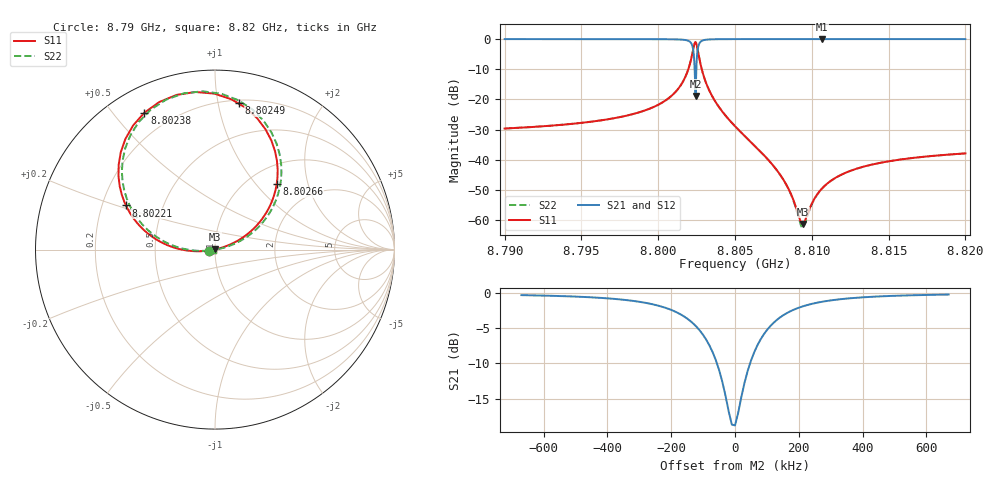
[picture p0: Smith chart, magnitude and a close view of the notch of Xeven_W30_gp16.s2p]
! Sonnet Data File
! From: emgraph Version : 16.52
! From Project: Qubit_Test_beforeopt
! Data is De-embedded
! Data File Written: 10/18/2017 16:57:22
!< HDATE 10/18/2017 09:03:38
!< MDATE 10/18/2017 09:03:38
!< PARAMS
!< Lj = 11.0
!< Gap = 16.0
!< Pwid = 2000.0
!< Airgap = 18.0
!< Width = 30.0
!< END PARAMS
# GHZ S MA R 51.80000
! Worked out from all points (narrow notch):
!   3001 points, 8.79 GHz to 8.82 GHz, reference 51.8 ohm
!   highest |S21| = 0.00 dB at 8.81065 GHz (marker M1); lowest = -18.8 dB at 8.80243 GHz (marker M2)
!   notch at M2: 18.8 dB deep, 113 kHz wide at half that depth
!   lowest |S11| = -61.2 dB at 8.8094 GHz (marker M3), VSWR 1.00, Z = 51.8 + j0.0882 ohm
!   |S11| at or under -10 dB: start of sweep to 8.80196 GHz; 8.802835 GHz to end of sweep
!   |S22| runs from -62.5 to -1.0 dB; largest |S21 - S12| = 0
!   S11 on the Smith chart (normalised r, x): 8.79 GHz: 0.94, -0.01; 8.80221 GHz: 0.30, +0.21; 8.80238 GHz: 0.10, +0.60; 8.80249 GHz: 0.22, +1.15; 8.80266 GHz: 1.33, +1.29; 8.82 GHz: 0.97, -0.00
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8.79  0.03301 -171.2  0.9994 -81.1  0.9994 -81.1  0.03301 -171.1
!< P1 F=8.79 Eeff=(6.44477581 -3.0301e-5) Z0=(50.6167814 1.12757e-4) R=0.0 C=0.0
!< P2 F=8.79 Eeff=(6.44477581 -3.0301e-5) Z0=(50.6167814 1.12757e-4) R=0.0 C=0.0
8.795  0.04099 -171.5  0.9991 -81.6  0.9991 -81.6  0.04099 -171.9
8.8  0.08167 -173.6  0.9962 -84.0  0.9962 -84.0  0.08166 -175.1
8.80145  0.1694 -179.0  0.9827 -89.1  0.9827 -89.1  0.1694 178.9
8.80198  0.328 170.5  0.932 -98.5  0.932 -98.5  0.3279 168.1
8.80221  0.5538 153.7  0.7879 -112.8  0.7879 -112.8  0.5537 151.1
8.80238  0.8582 117.3  0.2845 -132.1  0.2845 -132.1  0.8581 114.7
8.80243  0.8881 100.5  0.1147 -67.7  0.1147 -67.7  0.8879 97.8
8.80249  0.826 80.7  0.3786 -26.9  0.3786 -26.9  0.8258 78.0
8.80266  0.5008 46.7  0.8257 -49.4  0.8257 -49.4  0.5006 43.9
8.80284  0.3128 33.0  0.9351 -61.1  0.9351 -61.1  0.3128 30.1
8.80315  0.1786 24.1  0.9788 -69.1  0.9788 -69.1  0.1786 21.0
8.80387  0.08063 18.1  0.9954 -74.7  0.9954 -74.7  0.0806 14.3
8.805  0.03613 16.0  0.9989 -77.3  0.9989 -77.3  0.03611 10.8
8.80797  0.005528 21.6  0.9999 -79.1  0.9999 -79.1  0.005501 2.1
8.80862  0.002805 30.5  0.9999 -79.2  0.9999 -79.2  0.002762 -6.1
8.8094  0.000871 102.0  0.9999 -79.4  0.9999 -79.4  0.0007541 -80.9
8.81  0.001886 164.6  0.9999 -79.5  0.9999 -79.5  0.001843 -146.4
8.81065  0.003329 176.8  1 -79.6  1 -79.6  0.003308 -157.5
8.81228  0.006242 -176.2  0.9999 -79.8  0.9999 -79.8  0.006234 -163.9
8.815  0.009461 -173.7  0.9999 -80.0  0.9999 -80.0  0.009458 -166.5
8.82  0.01279 -172.6  0.9999 -80.2  0.9999 -80.2  0.01279 -168.0
